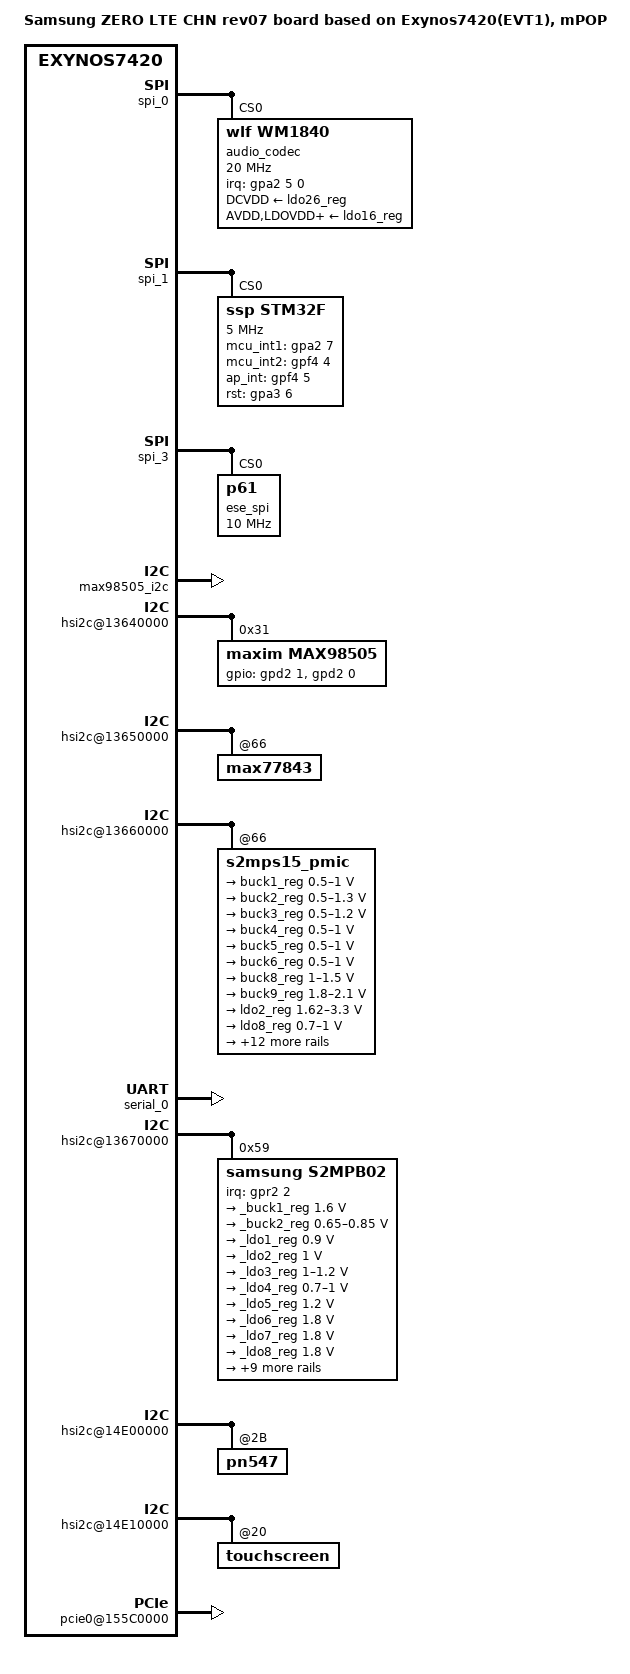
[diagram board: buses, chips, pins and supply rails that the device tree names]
/*
 * SAMSUNG UNIVERSAL7420 board device tree source
 *
 * Copyright (c) 2014 Samsung Electronics Co., Ltd.
 *		http://www.samsung.com
 *
 * This program is free software; you can redistribute it and/or modify
 * it under the terms of the GNU General Public License version 2 as
 * published by the Free Software Foundation.
*/

/dts-v1/;
#include "exynos7420-zero_common.dtsi"
#include "exynos7420-zerolte_chn_battery_06.dtsi"
#include "exynos7420-zerolte_gpio_chn_02.dtsi"
#include "exynos7420-zerolte_modem-mdm9x35.dtsi"
#include "exynos7420-zerolte_fingerprint-sensor_00.dtsi"
#include "exynos7420-zerolte_mst.dtsi"
/ {
	model = "Samsung ZERO LTE CHN rev07 board based on Exynos7420(EVT1), mPOP";
	model_info-chip = <7420>;
	model_info-platform = "android";
	model_info-subtype = "samsung";
	model_info-hw_rev = <11>;
	model_info-hw_rev_end = <255>;
	compatible = "samsung,ZERO LTE CHN EVT1 mPOP,r07", "samsung,exynos7420";

	spi_0: spi@14d20000 {
		/delete-property/ dma-mode;
		/delete-property/ dmas;
		/delete-property/ dma-names;

		num-cs = <1>;
		status = "okay";

		audio_codec: wm1840@0 {
			compatible = "wlf,wm1840";
			reg = <0x0>;
			spi-max-frequency = <20000000>;
			interrupts = <5 0 0>;
			interrupt-parent = <&gpa2>;

			gpio-controller;
			#gpio-cells = <2>;

			pinctrl-names ="default";
			pinctrl-0 = <&codec_reset &codec_irq>;

			wlf,reset = <&gpf4 0 0>;
			wlf,init-mic-delay = <30>;
			wlf,use-jd-gpio;
			wlf,micd-clamp-mode = <0x8>;
			wlf,micd-detect-debounce = <300>;
			wlf,micd-pol-gpio = <0>;
			wlf,micd-bias-start-time = <0x1>;
			wlf,micd-rate = <0x7>;
			wlf,micd-dbtime = <0x1>;
			wlf,micd-timeout = <1000>;
			wlf,micd-force-micbias;
			wlf,hpdet-moisture-imp = <2000>;
			wlf,hpdet-moisture-debounce = <40>;
			wlf,hpdet-channel = <1>;
			wlf,hpdet-ext-res = <33>;
			wlf,hpdet-short-circuit-imp = <3>;
			wlf,micd-ranges = <
				116 226
				173 582
				321 115
				752 114
				1257 217
			>;
			wlf,hs-mic = <3>;
			wlf,micd-configs = <
				0x0 2 0
			>;

			wlf,micbias1 = <1800 0 1 0 0>;
			wlf,micbias2 = <2800 0 1 0 0>;
			wlf,micbias3 = <1800 0 1 0 0>;
			wlf,micbias4 = <1800 0 1 0 0>;

			wlf,gpio-defaults = <
				0xffffffff 0xffffffff /* GPIO1 */
				0xffffffff 0xffffffff /* GPIO2 */
				0xffffffff 0xffffffff /* GPIO3 */
				0xffffffff 0xffffffff /* GPIO4 */
				0xffffffff 0xffffffff /* GPIO5 */
				0xffffffff 0xffffffff /* GPIO6 */
				0xffffffff 0xffffffff /* GPIO7 */
				0xffffffff 0xffffffff /* GPIO8 */
				0xffffffff 0xffffffff /* MIF1SCLK / GPIO9 */
				0xffffffff 0xffffffff /* MIF1SDA / GPIO10 */
				0xffffffff 0xffffffff /* MIF2SCLK / GPIO11 */
				0xffffffff 0xffffffff /* MIF2SDA / GPIO12 */
				0xffffffff 0xffffffff /* MIF3SCLK / GPIO13 */
				0xffffffff 0xffffffff /* MIF3SDA / GPIO14 */
				0x00002000 0x00006000 /* AIF1TXDAT / GPIO15 */
				0x00002000 0x00006000 /* AIF1BCLK / GPIO16 */
				0x00002000 0x00006000 /* AIF1RXDAT / GPIO17 */
				0x00002000 0x00006000 /* AIF1LRCLK / GPIO18 */
				0x00002000 0x00006000 /* AIF2TXDAT / GPIO19 */
				0x00002000 0x00006000 /* AIF2BCLK / GPIO20 */
				0x00002000 0x00006000 /* AIF2RXDAT / GPIO21 */
				0x00002000 0x00006000 /* AIF2LRCLK / GPIO22 */
				0x00002000 0x00006000 /* AIF3TXDAT / GPIO23 */
				0x00002000 0x00006000 /* AIF3BCLK / GPIO24 */
				0x00002000 0x00006000 /* AIF3RXDAT / GPIO25 */
				0x00002000 0x00006000 /* AIF3LRCLK / GPIO26 */
				0x00002000 0x00006000 /* AIF4TXDAT / GPIO27 */
				0x00002000 0x00006000 /* AIF4BCLK / GPIO28 */
				0x00002000 0x00006000 /* AIF4RXDAT / GPIO29 */
				0x00002000 0x00006000 /* AIF4LRCLK / GPIO30 */
				0x00002000 0x0000e000 /* DMICCLK4 / GPIO31 */
				0x00002000 0x0000e000 /* DMICDAT4 / GPIO32 */
				0xffffffff 0xffffffff /* DMICCLK5 / GPIO33 */
				0xffffffff 0xffffffff /* DMICDAT5 / GPIO34 */
				0xffffffff 0xffffffff /* DMICCLK6 / GPIO35 */
				0xffffffff 0xffffffff /* DMICDAT6 / GPIO36 */
				0xffffffff 0xffffffff /* SPKCLK1 / GPIO37 */
				0xffffffff 0xffffffff /* SPKCLK2 / GPIO38 */
				0xffffffff 0xffffffff /* SPKDAT1 / GPIO39 */
				0xffffffff 0xffffffff /* SPKDAT2 / GPIO40 */
			>;

			wlf,gpsw = <0x3>;
			wlf,micd-software-compare;
			wlf,micd-open-circuit-declare = <1>;
			wlf,jd-wake-time = <5000>;

			wlf,max-channels-clocked = <2 0 0 0>;
			/* 0:MICVDD 1:MICBIAS1 2:MICBIAS2 3:MICBIAS3 */
			wlf,dmic-ref = <1 2 1 0 0 0>;
			/* 1st cell:IN1L 2rd cell:IN1R 3nd cell:IN2L 4th cell:IN2R... 12th cell:IN6R */
			wlf,inmode = <2 2 0 0 2 2 2 2 0 0 0 0>;
			/* 1st cell:OUT1 2nd cell:OUT2 3rd cell:OUT3... 6th cell:OUT6 */
			wlf,out-mono = <0 1 1 0 0 0>;

			wlf,rev-specific-fw;

			DCVDD-supply = <&ldo26_reg>;
			AVDD-supply = <&ldo16_reg>;
			LDOVDD-supply = <&ldo16_reg>;
			DBVDD1-supply = <&ldo16_reg>;

			CPVDD-supply = <&ldo16_reg>;
			DBVDD2-supply = <&ldo16_reg>;
			DBVDD3-supply = <&ldo16_reg>;
			DBVDD4-supply = <&ldo16_reg>;
			SPKVDDL-supply = <&ldo16_reg>;
			SPKVDDR-supply = <&ldo16_reg>;

			adsps {
				#address-cells = <1>;
				#size-cells = <0>;

				adsp@0FFE00 {
					reg = <0x0FFE00>;
					firmware {
						TRACE {
							wlf,wmfw-file = "trace";
							wlf,bin-file = "None";
							wlf,compr-caps = <1 8 0x4 1 8000 16000 24000>;
						};
					};
				};
				adsp@17FE00 {
					reg = <0x17FE00>;
					firmware {
						TX_NB {
							wlf,wmfw-file = "tx-nb";
							wlf,bin-file = "None";
						};
						TX_WB {
							wlf,wmfw-file = "tx-wb";
							wlf,bin-file = "None";
						};
						TX_SWB_INTERVIEW {
							wlf,wmfw-file = "tx-swb";
							wlf,bin-file = "None";
						};
						TX_SWB_CONVERSATION {
							wlf,wmfw-file = "tx-swb";
							wlf,bin-file = "None";
						};
						TX_FB_MEETING {
							wlf,wmfw-file = "tx-fb-meeting";
							wlf,bin-file = "tx-fb-meeting";
						};
					};
				};
				adsp@1FFE00 {
					reg = <0x1FFE00>;
					firmware {
						TX_NB {
							wlf,wmfw-file = "tx-nb";
							wlf,bin-file = "tx-nb";
						};
						TX_WB {
							wlf,wmfw-file = "tx-wb";
							wlf,bin-file = "tx-wb";
						};
						TX_SWB_INTERVIEW {
							wlf,wmfw-file = "tx-swb";
							wlf,bin-file = "tx-swb-interview";
						};
						TX_SWB_CONVERSATION {
							wlf,wmfw-file = "tx-swb";
							wlf,bin-file = "tx-swb-conversation";
						};
						TX_WB_MEETING {
							wlf,wmfw-file = "tx-wb-meeting";
							wlf,bin-file = "tx-wb-meeting";
						};
					};
				};
				adsp@27FE00 {
					reg = <0x27FE00>;
					firmware {
						RX_NB {
							wlf,wmfw-file = "rx-anc-nb";
							wlf,bin-file = "rx-anc-nb";
						};
						RX_WB {
							wlf,wmfw-file = "rx-anc-wb";
							wlf,bin-file = "rx-anc-wb";
						};
					};
				};
				adsp@37FE00 {
					reg = <0x37FE00>;
					firmware {
						VOICECONTROL {
							wlf,wmfw-file = "ez2-control";
							wlf,bin-file = "ez2-control";
							wlf,compr-caps = <1 1 0x4 1 16000>;
						};
						LPSD {
							wlf,wmfw-file = "ez2-control";
							wlf,bin-file = "lpsd-control";
						};
					};
				};
				adsp@2FFE00 {
					reg = <0x2FFE00>;
					firmware {
						DSM {
							wlf,wmfw-file = "dsm";
							wlf,bin-file = "None";
						};
					};
				};
			};
			controller-data {
				cs-gpio = <&gpd8 1 0>;
				samsung,spi-feedback-delay = <0>;
			};
		};
	};

	spi_1: spi@14d30000 {
		#address-cells = <1>;
		#size-cells = <0>;

		pinctrl-names = "default";
		pinctrl-0 = <&spi1_mosi_sck_ssn &spi1_miso>;

		num-cs = <1>;
		status = "okay";

		STM32F@0 {
			compatible = "ssp,STM32F";
			reg = <0>;
			spi-max-frequency = <5000000>;
			spi-cpol;
			spi-cpha;
			pinctrl-names = "default";
			pinctrl-0 = <&ssp_rst &ssp_ap_int &ssp_mcu_int1 &ssp_mcu_int2>;

			gpio-controller;
			#gpio-cells = <2>;
			ssp,mcu_int1-gpio = <&gpa2 7 0x00>;
			ssp,mcu_int2-gpio = <&gpf4 4 0x00>;
			ssp,ap_int-gpio = <&gpf4 5 0x00>;
			ssp,rst-gpio = <&gpa3 6 0x00>;
			ssp,acc-position = <0>;
			ssp,mag-position = <6>;
			ssp,prox-hi_thresh = <2000>;
			ssp,prox-low_thresh = <1400>;
			ssp-glass-type = <1>;
			ssp-acc-type = <1>;
			ssp,mag-array = /bits/ 8 <25 83 56 111 50 147 254 139 209 54
						186 22 178 179 1 179 254 19 59 70
						191 0 172 165 12 5 94>;

			controller-data {
				cs-gpio = <&gpd6 3 0>;
				samsung,spi-feedback-delay = <0>;
			};
		};
	};

	spi_3: spi@14d50000 {
		status = "okay";
		#address-cells = <1>;
		#size-cells = <0>;
		pinctrl-names = "default";
		pinctrl-0 = <&spi3_bus>;

		ese_spi@0 {
			compatible = "p61";
			reg = <0>;
			spi-max-frequency = <10000000>;

			gpio-controller;
			#gpio-cells = <2>;

			p61-mosipin = <&gpg4 3 0>;
			p61-misopin = <&gpg4 2 0>;
			p61-cspin = <&gpg4 1 0>;
			p61-clkpin = <&gpg4 0 0>;
			p3-vdd-1p8= "VDD_1.8V_ESE";

			controller-data {
				cs-gpio = <&gpg4 1 0>;
				samsung,spi-feedback-delay = <0>;
			};
		};
	};

	audio_pdata {
		compatible = "samsung,audio-pdata";

		imp_table = <
			/* min      max gain */
			   0         13    0
			  14         42    0
			  43        100    2
			 101        200    4
			 201        450    6
			 451       1000    7
			1001 0x7fffffff    0
		>;

		seamless_voicewakeup;
		status = "okay";
	};
	
	antenna_switch {
		status = "okay";
		compatible = "antenna_switch";
		pinctrl-names = "default";
		pinctrl-0 = <&antenna_switch_en>;
		antenna_switch,gpio_antenna_switch = <&gpr3 6 0>;
	};

	pinctrl@10580000 {
		codec_irq: codec-irq {
			samsung,pins = "gpa2-5";
			samsung,pin-function = <0xf>;
			samsung,pin-pud = <0>;
		};
		max98505_ctrl: max98505-ctl {
			samsung,pins ="gpa2-0";
			samsung,pin-function = <0>;
			samsung,pin-pud = <0>;
			samsung,pin-con-pdn =<2>;
			samsung,pin-pud-pdn = <0>;
		};
		ssp_mcu_int1: ssp-mcu-int1 {
			samsung,pins = "gpa2-7";
			samsung,pin-function = <0>;
			samsung,pin-pud = <0>;
			samsung,pin-drv = <0>;
		};
		ssp_rst: ssp-rst {
			samsung,pins = "gpa3-6";
			samsung,pin-function = <0xf>;
			samsung,pin-pud = <3>;
			samsung,pin-drv = <3>;
		};
	};

	pinctrl@13470000 {
		max98505_i2c: max98505-i2c {
			samsung,pins = "gpd2-0", "gpd2-1";
			samsung,pin-pud = <0>;
			status = "okay";
		};
	};

	pinctrl@14870000 {
		codec_reset: codec-reset {
			samsung,pins ="gpf4-0";
			samsung,pin-function = <1>;
			samsung,pin-pud = <1>;
			samsung,pin-con-pdn =<3>;
			samsung,pin-pud-pdn = <1>;
			samsung,pin-val = <0>;
		};
		ssp_mcu_int2: ssp-mcu-int2 {
			samsung,pins = "gpf4-4";
			samsung,pin-function = <0>;
			samsung,pin-pud = <0>;
			samsung,pin-drv = <0>;
		};
		ssp_ap_int: ssp-ap-int {
			samsung,pins = "gpf4-5";
			samsung,pin-function = <0xf>;
			samsung,pin-pud = <3>;
			samsung,pin-drv = <3>;
		};
	};

	pinctrl@15690000 {
		sub_pmic_irq: sub-pmic-irq {
			samsung,pins ="gpr2-2";
			samsung,pin-function = <0>;
			samsung,pin-pud = <0>;
			samsung,pin-drv = <0>;
		};
		antenna_switch_en: antenna-switch-en {
			samsung,pins = "gpr3-6";
			samsung,pin-function = <1>;
			samsung,pin-pud = <0>;
			samsung,pin-val = <0>;
		};
	};

	hsi2c@13640000 {
		status = "okay";
		max98505@31 {
			compatible = "maxim,max98505";
			reg = <0x31>;
			pinctrl-names = "default";
			pinctrl-0 = <&max98505_i2c &max98505_ctrl>;
			gpios = <&gpd2 1 0
				&gpd2 0 0
				>;
			i2c-gpio,delay-us = <2>;
			maxim,platform_type = <0>;
			maxim,spk_vol = <0x14>;
			maxim,sysclk = <12288000>;
		};
	};

	hsi2c@13650000{
		max77843@66 {
			status = "okay";
		};
	};

	hsi2c@13660000 {
		s2mps15_pmic@66 {
			regulators {
				buck1_reg: BUCK1 {
					regulator-name = "vdd_mif";
					regulator-min-microvolt = <500000>;
					regulator-max-microvolt = <1000000>;
					regulator-always-on;
					regulator-boot-on;
					regulator-ramp-delay = <12000>;
					regulator-initial-mode = <1>;
				};

				buck2_reg: BUCK2 {
					regulator-name = "vdd_atlas";
					regulator-min-microvolt = <500000>;
					regulator-max-microvolt = <1300000>;
					regulator-always-on;
					regulator-boot-on;
					regulator-ramp-delay = <12000>;
					regulator-initial-mode = <1>;
				};

				buck3_reg: BUCK3 {
					regulator-name = "vdd_apollo";
					regulator-min-microvolt = <500000>;
					regulator-max-microvolt = <1200000>;
					regulator-always-on;
					regulator-boot-on;
					regulator-ramp-delay = <12000>;
					regulator-initial-mode = <1>;
				};

				buck4_reg: BUCK4 {
					regulator-name = "vdd_int";
					regulator-min-microvolt = <500000>;
					regulator-max-microvolt = <1000000>;
					regulator-always-on;
					regulator-boot-on;
					regulator-ramp-delay = <12000>;
					regulator-initial-mode = <1>;
				};

				buck5_reg: BUCK5 {
					regulator-name = "vdd_disp_cam0";
					regulator-min-microvolt = <500000>;
					regulator-max-microvolt = <1000000>;
					regulator-always-on;
					regulator-boot-on;
					regulator-ramp-delay = <12000>;
					regulator-initial-mode = <1>;
				};

				buck6_reg: BUCK6 {
					regulator-name = "vdd_g3d";
					regulator-min-microvolt = <500000>;
					regulator-max-microvolt = <1000000>;
					regulator-always-on;
					regulator-boot-on;
					regulator-ramp-delay = <12000>;
					regulator-initial-mode = <1>;
				};

				buck8_reg: BUCK8 {
					regulator-name = "vdd_lldo";
					regulator-min-microvolt = <1000000>;
					regulator-max-microvolt = <1500000>;
					regulator-always-on;
					regulator-ramp-delay = <12000>;
					regulator-initial-mode = <3>;
				};

				buck9_reg: BUCK9 {
					regulator-name = "vdd_mldo";
					regulator-min-microvolt = <1800000>;
					regulator-max-microvolt = <2100000>;
					regulator-always-on;
					regulator-ramp-delay = <12000>;
					regulator-initial-mode = <3>;
				};

				ldo2_reg: LDO2 {
					regulator-name = "vqmmc";
					regulator-min-microvolt = <1620000>;
					regulator-max-microvolt = <3300000>;
					regulator-ramp-delay = <12000>;
					regulator-initial-mode = <1>;
					regulator-boot-on;
				};

				ldo8_reg: LDO8 {
					regulator-name = "vdd_ldo8";
					regulator-min-microvolt = <700000>;
					regulator-max-microvolt = <1000000>;
					regulator-always-on;
					regulator-initial-mode = <1>;
				};

				ldo15_reg: LDO15 {
					regulator-name = "tsp_io";
					regulator-min-microvolt = <1850000>;
					regulator-max-microvolt = <1850000>;
				};

				ldo16_reg: LDO16 {
					regulator-name = "VCC_1.8V_CODEC_PMIC";
					regulator-min-microvolt = <1800000>;
					regulator-max-microvolt = <1800000>;
				};

				ldo17_reg: LDO17 {
					regulator-name = "VCC_MOTOR_3.0";
					regulator-min-microvolt = <3000000>;
					regulator-max-microvolt = <3000000>;
				};

				ldo18_reg: LDO18 {
					regulator-name = "HRM_VDD_1.8V";
					regulator-min-microvolt = <1800000>;
					regulator-max-microvolt = <1850000>;
				};

				ldo19_reg: LDO19 {
					regulator-name = "MST_LEVEL_3.0V";
					regulator-min-microvolt = <3000000>;
					regulator-max-microvolt = <3000000>;
				};

				ldo20_reg: LDO20 {
					regulator-name = "VDD20_1P8_AP";
					regulator-min-microvolt = <1800000>;
					regulator-max-microvolt = <1800000>;
				};

				ldo21_reg: LDO21 {
					regulator-name = "key_led";
					regulator-min-microvolt = <3300000>;
					regulator-max-microvolt = <3300000>;
				};

				ldo22_reg: LDO22 {
					regulator-name = "VDD22_1P1_2MIC";
					regulator-min-microvolt = <1100000>;
					regulator-max-microvolt = <1100000>;
					regulator-always-on;
					regulator-initial-mode = <3>;
				};

				ldo23_reg: LDO23 {
					regulator-name = "VDD_1.8V_ESE";
					regulator-min-microvolt = <1800000>;
					regulator-max-microvolt = <1800000>;
				};

				ldo24_reg: LDO24 {
					regulator-name = "V_HRM_3.3V";
					regulator-min-microvolt = <3300000>;
					regulator-max-microvolt = <3350000>;
				};

				ldo25_reg: LDO25 {
					regulator-name = "PROX_LED_3.3V";
					regulator-min-microvolt = <3300000>;
					regulator-max-microvolt = <3300000>;
				};

				ldo26_reg: LDO26 {
					regulator-name = "VDD_1.2V_CODEC";
					regulator-min-microvolt = <1200000>;
					regulator-max-microvolt = <1200000>;
				};
			};
		};
	};

	serial_0: uart@13630000 {
		status = "okay";
	};

	hsi2c@13670000 {
		max77838@60 {
			status = "disabled";
		};
		s2mpb02@59 {
			compatible = "samsung,s2mpb02";
			reg = <0x59>;

			s2mpb02,irq-gpio = <&gpr2 2 0>;
			pinctrl-names = "default";
			pinctrl-0 = <&sub_pmic_irq>;

			regulators {
				_buck1_reg: s2mpb02-buck1 {
					regulator-name = "VDD_1P6_DDR";
					regulator-min-microvolt = <1600000>;
					regulator-max-microvolt = <1600000>;
				};

				_buck2_reg: s2mpb02-buck2 {
					regulator-name = "VDDD_CORE_0.8V_COMP";
					regulator-min-microvolt = <650000>;
					regulator-max-microvolt = <850000>;
				};

				_ldo1_reg: s2mpb02-ldo1 {
					regulator-name = "VDDD_NORET_0.9V_COMP";
					regulator-min-microvolt = <900000>;
					regulator-max-microvolt = <900000>;
				};

				_ldo2_reg: s2mpb02-ldo2 {
					regulator-name = "VDDD_CORE_1.0V_COMP";
					regulator-min-microvolt = <1000000>;
					regulator-max-microvolt = <1000000>;
				};

				_ldo3_reg: s2mpb02-ldo3 {
					regulator-name = "VDDD_1.2V_CAM";
					regulator-min-microvolt = <1000000>;
					regulator-max-microvolt = <1200000>;
				};

				_ldo4_reg: s2mpb02-ldo4 {
					regulator-name = "VDDD_RET_1.0V_COMP";
					regulator-min-microvolt = <700000>;
					regulator-max-microvolt = <1000000>;
				};

				_ldo5_reg: s2mpb02-ldo5 {
					regulator-name = "VDDD_1.2V_VT";
					regulator-min-microvolt = <1200000>;
					regulator-max-microvolt = <1200000>;
				};

				_ldo6_reg: s2mpb02-ldo6 {
					regulator-name = "VDDIO_1.8V_VT";
					regulator-min-microvolt = <1800000>;
					regulator-max-microvolt = <1800000>;
				};

				_ldo7_reg: s2mpb02-ldo7 {
					regulator-name = "VDDIO_1.8V_CAM";
					regulator-min-microvolt = <1800000>;
					regulator-max-microvolt = <1800000>;
				};

				_ldo8_reg: s2mpb02-ldo8 {
					regulator-name = "VDDIO_1.8V_COMP";
					regulator-min-microvolt = <1800000>;
					regulator-max-microvolt = <1800000>;
				};

				_ldo9_reg: s2mpb02-ldo9 {
					regulator-name = "VDDA_1.8V_COMP";
					regulator-min-microvolt = <1800000>;
					regulator-max-microvolt = <1800000>;
				};

				_ldo10_reg: s2mpb02-ldo10 {
					regulator-name = "VCC_DISPLAY_1.8V";
					regulator-min-microvolt = <1800000>;
					regulator-max-microvolt = <1800000>;
				};

				_ldo11_reg: s2mpb02-ldo11 {
					regulator-name = "VDDA_2.9V_CAM";
					regulator-min-microvolt = <2800000>;
					regulator-max-microvolt = <2950000>;
				};

				_ldo12_reg: s2mpb02-ldo12 {
					regulator-name = "VDDAF_2.8V_CAM";
					regulator-min-microvolt = <2800000>;
					regulator-max-microvolt = <2800000>;
				};

				_ldo13_reg: s2mpb02-ldo13 {
					regulator-name = "VDDA_2.9V_VT";
					regulator-min-microvolt = <2900000>;
					regulator-max-microvolt = <2900000>;
				};

				_ldo14_reg: s2mpb02-ldo14 {
					regulator-name = "OIS_VM_2.8V";
					regulator-min-microvolt = <2800000>;
					regulator-max-microvolt = <2800000>;
				};

				_ldo15_reg: s2mpb02-ldo15 {
					regulator-name = "OIS_VDD_2.8V";
					regulator-min-microvolt = <2800000>;
					regulator-max-microvolt = <2800000>;
				};

				_ldo16_reg: s2mpb02-ldo16 {
					regulator-name = "VCC_3.0V_LCD";
					regulator-min-microvolt = <3000000>;
					regulator-max-microvolt = <3000000>;
				};

				_ldo17_reg: s2mpb02-ldo17 {
					regulator-name = "tsp_avdd";
					regulator-min-microvolt = <3300000>;
					regulator-max-microvolt = <3300000>;
				};
			};

			torch {
				status = "okay";
				leds1 {
					ledname = "leds-sec1";
					/* S2MPB02_FLASH_LED_1 */
					id = <0>;
					/* S2MPB02_FLASH_CURRENT */
					brightness = <0xF>;
					/* S2MPB02_FLASH_TIMEOUT */
					timeout = <0x3>;
				};

				leds2 {
					ledname = "torch-sec1";
					/* S2MPB02_TORCH_LED_1 */
					id = <1>;
					/* S2MPB02_TORCH_CURRENT */
					brightness = <0x9>;
					/* S2MPB02_TORCH_TIMEOUT */
					timeout = <0xF>;
				};
			};
		};
	};

	hsi2c@14E00000 {
		pn547@2B {
			pn547,i2c_1p8 = "VDD20_1P8_AP";
		};
	};

	hsi2c@14E60000 {
		status = "disable";
		/delete-node/	s2mpb01_pmic@59;
	};

	sec_thermistor@0 {
		status = "okay";

		adc_array = <205 216 227 238 249 260 271 282 293 303
			314 324 335 346 356 366 377 388 398 408
			418 436 454 472 489 506 520 534 548 561
			575 588 602 619 636 655 674 697 720 737
			754 775 796 819 842 857 872 904 936 953
			974 993 1012 1031 1050 1070 1087 1104 1121 1138
			1155 1175 1205 1232 1259 1286 1306 1326 1345 1365
			1385 1403 1421 1439 1457 1475 1492 1509 1526 1543
			1560 1579 1598 1616 1635 1654 1669 1684 1699 1713
			1728 1740 1753 1766 1778 1790 1798 1806 1814 1822
			1830 1839 1848 1856 1864 1872 1880 1888 1896 1904
			1912>;
	};

	sec_thermistor@2 {
		status = "okay";

		adc_array = <205 216 227 238 249 260 271 282 293 303
			314 324 335 346 356 366 377 388 398 408
			418 436 454 472 489 506 520 534 548 561
			575 588 602 619 636 655 674 697 720 737
			754 775 796 819 842 857 872 904 936 953
			974 993 1012 1031 1050 1070 1087 1104 1121 1138
			1155 1175 1205 1232 1259 1286 1306 1326 1345 1365
			1385 1403 1421 1439 1457 1475 1492 1509 1526 1543
			1560 1579 1598 1616 1635 1654 1669 1684 1699 1713
			1728 1740 1753 1766 1778 1790 1798 1806 1814 1822
			1830 1839 1848 1856 1864 1872 1880 1888 1896 1904
			1912>;
	};

	hsi2c@14E10000 {
		touchscreen@20 {
			stm,num_touchkey = <2>;
			stm,regulator_tk_led = "key_led";
		};
	};

	pcie0@155C0000 {
		status = "okay";
	};

	dwmmc0@15740000 {
		status = "disabled";
	};

	dwmmc2@15560000 {
		vdd_vmmc-supply = <&ldo25_reg>;
		vqmmc-supply = <&ldo2_reg>;
	};
	
	dsim_0: dsim@0x13900000 {
		gpios = <&gpr3 0 0x1>;
		regulator_30V = "VCC_3.0V_LCD";
		regulator_18V = "VCC_DISPLAY_1.8V"; 
		regulator_16V = "VDD_1P6_DDR";
		lcd_info = <&s6e3hf2_wqhd>;
	};

	s6e3hf2_wqhd: s6e3hf2_wqhd_panel {
		mode = <2>;
		resolution = <1440 2560>;
		size = <63 112>;
		timing,refresh = <60>;
		timing,h-porch = <1 1 1>;
		timing,v-porch = <15 1 1>;
		timing,dsi-hs-clk = <1026>;
		timing,dsi-escape-clk = <16>;
		mic = <1>;
		mic_ver = <2>;
		type_of_ddi = <0>;
	};

	usb_notifier {
		samsung,can-disable-usb;
	};
};
